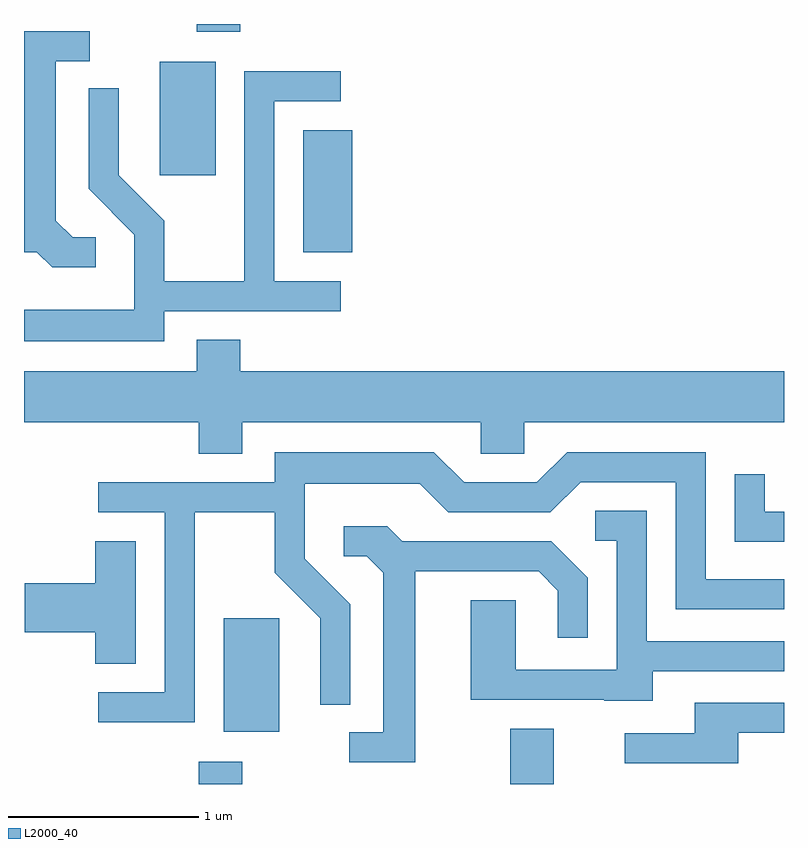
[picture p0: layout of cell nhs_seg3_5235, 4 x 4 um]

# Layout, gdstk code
import gdstk
lib = gdstk.Library(unit=1e-6, precision=1e-09)
def R(c, l, rs):  # rectangles x0, y0, x1, y1
    for r in rs: c.add(gdstk.rectangle(r[:2], r[2:], *l))
def P(c, l, *ps):  # polygons
    for p in ps: c.add(gdstk.Polygon(p, *l))
L2000_40 = (2000, 40)

nhs_seg3_5235 = lib.new_cell('nhs_seg3_5235')
R(nhs_seg3_5235, L2000_40, [(340.531,1121.892,340.759,1122.009), (342.171,1121.892,342.399,1122.184), (340.661,1122.166,340.954,1122.764), (341.081,1124.691,341.339,1125.334), (340.326,1125.096,340.619,1125.694), (340.521,1125.851,340.749,1125.892)])
P(nhs_seg3_5235, L2000_40, [(339.988,1124.769),(339.867,1124.769),(339.779,1124.857),(339.779,1125.696),(339.958,1125.696),(339.958,1125.854),(339.611,1125.854),(339.611,1124.691),(339.679,1124.691),(339.759,1124.611),(339.988,1124.611)],
  [(340.349,1124.381),(341.278,1124.381),(341.278,1124.539),(340.929,1124.539),(340.929,1125.486),(341.278,1125.486),(341.278,1125.644),(340.771,1125.644),(340.771,1124.539),(340.349,1124.539),(340.349,1124.857),(340.109,1125.097),(340.109,1125.553),(339.951,1125.553),(339.951,1125.024),(340.191,1124.784),(340.191,1124.389),(339.611,1124.389),(339.611,1124.221),(340.349,1124.221)],
  [(340.759,1123.796),(342.016,1123.796),(342.016,1123.631),(342.244,1123.631),(342.244,1123.796),(343.611,1123.796),(343.611,1124.064),(340.749,1124.064),(340.749,1124.229),(340.521,1124.229),(340.521,1124.064),(339.611,1124.064),(339.611,1123.796),(340.531,1123.796),(340.531,1123.631),(340.759,1123.631)],
  [(340.509,1123.321),(340.931,1123.321),(340.931,1123.004),(341.171,1122.764),(341.171,1122.308),(341.329,1122.308),(341.329,1122.837),(341.089,1123.077),(341.089,1123.471),(341.694,1123.471),(341.844,1123.321),(342.382,1123.321),(342.542,1123.481),(343.041,1123.481),(343.041,1122.811),(343.611,1122.811),(343.611,1122.969),(343.199,1122.969),(343.199,1123.639),(342.469,1123.639),(342.309,1123.479),(341.927,1123.479),(341.767,1123.639),(340.931,1123.639),(340.931,1123.479),(340.003,1123.479),(340.003,1123.321),(340.351,1123.321),(340.351,1122.374),(340.003,1122.374),(340.003,1122.216),(340.509,1122.216)],
  [(343.611,1123.324),(343.509,1123.324),(343.509,1123.523),(343.351,1123.523),(343.351,1123.166),(343.611,1123.166)],
  [(342.919,1122.486),(343.611,1122.486),(343.611,1122.644),(342.889,1122.644),(342.889,1123.329),(342.618,1123.329),(342.618,1123.171),(342.731,1123.171),(342.731,1122.494),(342.199,1122.494),(342.199,1122.859),(341.961,1122.859),(341.961,1122.336),(342.665,1122.336),(342.665,1122.331),(342.919,1122.331)],
  [(341.669,1123.011),(342.319,1123.011),(342.421,1122.909),(342.421,1122.663),(342.579,1122.663),(342.579,1122.977),(342.387,1123.169),(341.602,1123.169),(341.522,1123.249),(341.293,1123.249),(341.293,1123.091),(341.414,1123.091),(341.501,1123.004),(341.501,1122.164),(341.323,1122.164),(341.323,1122.006),(341.669,1122.006)],
  [(340.199,1123.169),(339.986,1123.169),(339.986,1122.949),(339.616,1122.949),(339.616,1122.691),(339.986,1122.691),(339.986,1122.526),(340.199,1122.526)],
  [(343.369,1122.161),(343.611,1122.161),(343.611,1122.319),(343.141,1122.319),(343.141,1122.159),(342.773,1122.159),(342.773,1122.001),(343.369,1122.001)])

lib.write_gds('nhs_seg3_5235.gds')
